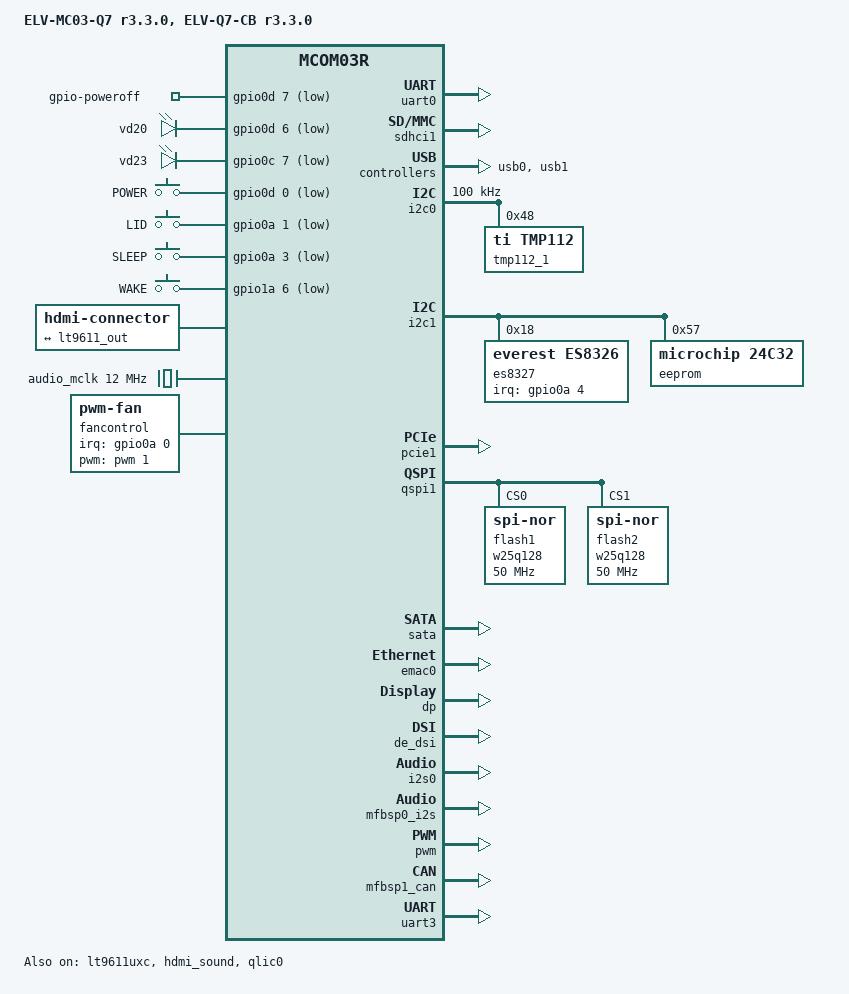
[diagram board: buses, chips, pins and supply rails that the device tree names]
// SPDX-License-Identifier: GPL-2.0+
// Copyright 2026 RnD Center "ELVEES", JSC

/dts-v1/;

#include <dt-bindings/input/linux-event-codes.h>
#include "mcom03r-elvmc03q7-r3.3.0.dtsi"

/ {
	model = "ELV-MC03-Q7 r3.3.0, ELV-Q7-CB r3.3.0";
	compatible = "elvees,elvmc03q7-r3.3.0-elvq7cb-r3.3.0",
		     "elvees,elvmc03q7-elvq7cb",
		     "elvees,elvq7cb-r3.3.0",
		     "elvees,elvq7cb",
		     "elvees,elvmc03q7-r3.3.0",
		     "elvees,elvmc03q7",
		     "elvees,mcom03r";


	gpio-poweroff {
		compatible = "gpio-poweroff";
		gpios = <&gpio0d 7 GPIO_ACTIVE_LOW>; // Use SUS_S5 to poweroff
		timeout-ms = <1000>;
	};

	chosen {
		stdout-path = "serial0:115200n8";
	};

	elvq7cb-leds {
		compatible = "gpio-leds";

		vd20 {
			gpios = <&gpio0d 6 GPIO_ACTIVE_LOW>;
			default-state = "off";
		};

		vd23 {
			gpios = <&gpio0c 7 GPIO_ACTIVE_LOW>;
			default-state = "off";
		};
	};

	elvq7cb-keys {
		compatible = "gpio-keys-polled";
		poll-interval = <100>;
		autorepeat;

		power {
			gpios = <&gpio0d 0 GPIO_ACTIVE_LOW>;
			label = "POWER";
			linux,code = <KEY_POWER>;
		};
	};

	elvq7cb-keys-with-irq {
		compatible = "gpio-keys";

		pinctrl-0 = <&wake_button_default>;
		pinctrl-names = "default";

		lid {
			gpios = <&gpio0a 1 GPIO_ACTIVE_LOW>;
			label = "LID";
			linux,input-type = <EV_SW>;
			linux,code = <SW_LID>;
			wakeup-source;
		};

		sleep {
			gpios = <&gpio0a 3 GPIO_ACTIVE_LOW>;
			label = "SLEEP";
			linux,code = <KEY_SLEEP>;
			wakeup-source;
		};

		wake {
			gpios = <&gpio1a 6 GPIO_ACTIVE_LOW>;
			label = "WAKE";
			linux,code = <KEY_WAKEUP>;
			wakeup-source;
		};
	};

	hdmi_connector: hdmi-connector {
		compatible = "hdmi-connector";
		label = "hdmi";

		type = "a";

		port {
			hdmi_connector_in: endpoint {
				remote-endpoint = <&lt9611_out>;
			};
		};
	};


	/* "G1" oscillator */
	audio_mclk: audio_mclk {
		#clock-cells = <0>;
		compatible = "fixed-clock";
		clock-frequency = <12000000>;
	};

	/* TRS (3.5mm jack) connected to ES8327 codec.
	 * ES8327 connected to MCom-03 I2S0 as I2S slave.
	 */
	elvq7cb_i2s_asound: sound {
		compatible = "simple-audio-card";
		simple-audio-card,name = "analog-audio";
		simple-audio-card,format = "i2s";
		simple-audio-card,bitclock-master = <&dailink1_master>;
		simple-audio-card,frame-master = <&dailink1_master>;
		simple-audio-card,continuous-clock;

		dailink1_master: simple-audio-card,cpu {
			sound-dai = <&mfbsp0_i2s>;
		};

		simple-audio-card,codec {
		sound-dai = <&es8327>;
		};
	};

	fancontrol: pwm-fan {
		compatible = "pwm-fan";
		pwms = <&pwm 1 40000 0>;
		#cooling-cells = <2>;
		cooling-levels = <0 102 180 230>;
		interrupt-parent = <&gpio0a>;
		interrupts = <0 IRQ_TYPE_EDGE_FALLING>;
	};
};

&lsperiph1_pinctrl {
	wake_button_default: wake-button-cfg {
		pins = "GPIOA_6";
		input-enable;
	};
};

&uart0 {
	status = "okay";
};

&sdhci1 {
	status = "okay";

	/* Disable 1.8V support
	 * Disable SDR50, SDR104 and DDR50 support
	 */
	sdhci-caps-mask = <0x7 0x4000000>;
	sdhci-caps = <0x0 0x0>;
};

/* Connected to USB 3.0 (USB0) */
&usb0 {
	status = "okay";
};

/* Connected to USB 2.0 (USB1, USB2-3) and USB 3.0 (USB4-5) */
&usb1 {
	status = "okay";
};

&i2c0 {
	status = "okay";
	clock-frequency = <100000>;

	tmp112_1: temperature-sensor@48 {
		compatible = "ti,tmp112";
		reg = <0x48>;
	};
};

&i2c1 {
	status = "okay";

	es8327: codec@18 {
		compatible = "everest,es8326";
		reg = <0x18>;

		interrupt-parent = <&gpio0a>;
		interrupts = <4 IRQ_TYPE_EDGE_RISING>;

		clocks = <&audio_mclk>;
		clock-names = "mclk";
		#sound-dai-cells = <0>;
		everest,mic1-src = [22];
		everest,mic2-src = [44];
		everest,jack-pol = [0e];
		everest,interrupt-src = [08];
		everest,interrupt-clk = [45];
	};

	eeprom@57 {
		compatible = "microchip,24c32", "atmel,24c32";
		reg = <0x57>;
	};
};

/* Connected to PCIe slot XS3 */
&pcie1 {
	status = "okay";
};

&qspi1 {
	status = "okay";
	num-cs = <2>;

	flash1: w25q128@0 {
		#address-cells = <1>;
		#size-cells = <1>;
		compatible = "jedec,spi-nor", "spi-flash";
		reg = <0x0>;
		/* This is the highest frequency at which all commands are
		 * supported by the flash device.
		 */
		spi-max-frequency = <50000000>;
		m25p,fast-read;
	};

	flash2: w25q128@1 {
		#address-cells = <1>;
		#size-cells = <1>;
		compatible = "jedec,spi-nor", "spi-flash";
		reg = <0x1>;
		/* This is the highest frequency at which all commands are
		 * supported by the flash device.
		 */
		spi-max-frequency = <50000000>;
		m25p,fast-read;
	};
};

/* Connected to SATA plug */
&sata {
	status = "okay";
};

/* Connected to RJ-45 (XS1) */
&emac0 {
	status = "okay";
};

&dp {
	status = "okay";
};

&de_dsi {
	status = "okay";
};

&lt9611uxc {
	status = "okay";

	ports {
		port@2 {
			reg = <2>;
			lt9611_out: endpoint {
				remote-endpoint = <&hdmi_connector_in>;
			};
		};
	};
};

&i2s0 {
	status = "okay";
};

&hdmi_sound {
	status = "okay";
};

&mfbsp0_i2s {
	status = "okay";
};

&qlic0 {
	status = "okay";
};

&pwm {
	status = "okay";
	elvees,output-channel = <0 0 0 0>;
	elvees,state-on-disable = <0 1 0 0>;

	pinctrl-names = "default";
	pinctrl-0 = <&pwm_oena1_mux>;
};

/*
 * Upon reaching the trip point the thermal subsystem driver enables the fans.
 *
 * Thermal zones can be enabled/disabled via sysfs by writing said state into
 * the corresponding /sys/class/thermal/thermal_zoneX/mode file.
 */
&trips {
	cpu_alert0: cpu-alert-0 {
		temperature = <50000>;
		hysteresis = <1000>;
		type = "active";
	};
};

&cooling_maps {
	map0 {
		trip = <&cpu_alert0>;
		cooling-device = <&fancontrol
				  THERMAL_NO_LIMIT
				  THERMAL_NO_LIMIT>;
	};
};

/* Connected to XP14 socket through CAN transceiver */
&mfbsp1_can {
	status = "okay";
};

/* Connects to XP15(RS-232) or XP16(RS-485) chosen by SA7 switch */
ser0: &uart3 {
	status = "okay";

	pinctrl-names = "default";
	pinctrl-0 = <&uart3_mux_data &uart3_mux_rtscts>;
};

/*
 * All QSPI interfaces connected to the Q7 module operates at the same clock
 * frequency.
 * However, the QSPI on the Q7-CB did not work at 50 MHz for no apparent
 * reason - likely due to the effect of trace length. To resolve this, we
 * increased the pad current to 6mA.
 */
&qspi1_default{
	data_and_ss {
		drive-strength = <6>;
	};

	clk {
		drive-strength = <6>;
	};
};
